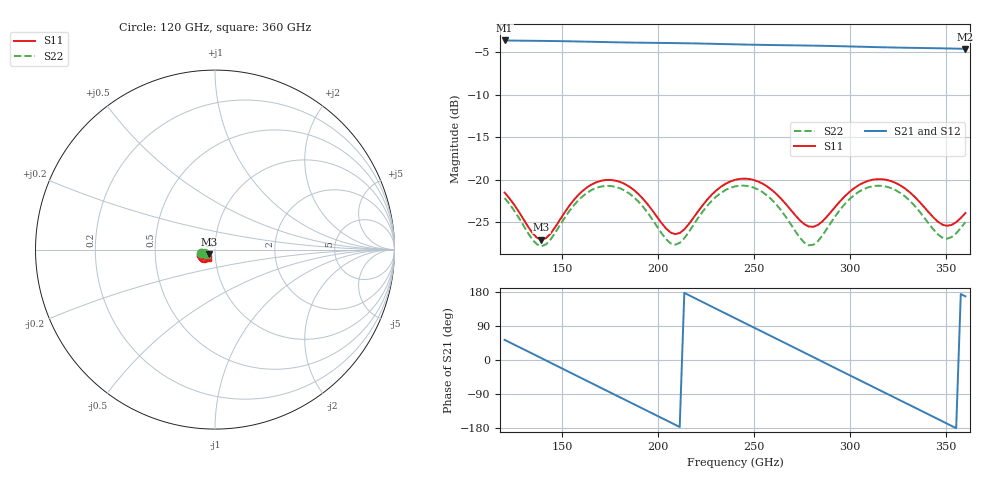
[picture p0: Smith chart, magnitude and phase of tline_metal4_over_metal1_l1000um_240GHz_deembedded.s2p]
! Created with skrf 2.0.1 (http://scikit-rf.org).
# GHz S DB R 50.0
!freq dBS11 angS11 dBS21 angS21 dBS12 angS12 dBS22 angS22
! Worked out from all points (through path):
!   101 points, 120 GHz to 360 GHz, reference 50 ohm
!   highest |S21| = -3.60 dB at 120 GHz (marker M1); lowest = -4.6 dB at 360 GHz (marker M2)
!   group delay of S21, straight-line fit = 7 ps
!   lowest |S11| = -27.1 dB at 139.2 GHz (marker M3), VSWR 1.09, Z = 46.5 - j2.51 ohm
!   |S11| at or under -10 dB: start of sweep to end of sweep
!   |S22| runs from -27.8 to -20.7 dB; largest |S21 - S12| = 7.6e-14
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120  -21.51 -160.1  -3.60 53.1  -3.60 53.1  -22.15 -166.8
139.2  -27.06 -142.6  -3.65 4.8  -3.65 4.8  -27.82 -149.4
148.8  -24.71 -121.5  -3.68 -19.5  -3.68 -19.5  -25.35 -128.9
160.8  -21.28 -126.1  -3.73 -49.8  -3.73 -49.8  -21.91 -134.9
170.4  -20.11 -138.5  -3.78 -74.0  -3.78 -74.0  -20.79 -148.3
180  -20.24 -152.1  -3.82 -98.2  -3.82 -98.2  -21.00 -162.8
189.6  -21.66 -163.0  -3.86 -122.3  -3.86 -122.3  -22.54 -174.6
201.6  -25.05 -162.2  -3.89 -152.6  -3.89 -152.6  -26.25 -173.9
208.8  -26.41 -146.3  -3.91 -170.8  -3.91 -170.8  -27.65 -156.0
220.8  -23.71 -125.1  -3.95 158.9  -3.95 158.9  -24.49 -135.2
240  -20.01 -139.8  -4.05 110.4  -4.05 110.4  -20.78 -153.4
249.6  -20.02 -152.2  -4.10 86.2  -4.10 86.2  -20.91 -167.3
259.2  -21.20 -162.3  -4.14 62.1  -4.14 62.1  -22.35 -178.9
271.2  -24.13 -163.0  -4.18 31.9  -4.18 31.9  -25.99 -179.7
280.8  -25.54 -145.1  -4.21 7.6  -4.21 7.6  -27.65 -155.5
292.8  -23.03 -129.0  -4.26 -22.7  -4.26 -22.7  -24.11 -138.2
304.8  -20.59 -135.3  -4.33 -53.0  -4.33 -53.0  -21.37 -147.7
321.6  -20.17 -154.5  -4.42 -95.3  -4.42 -95.3  -21.01 -170.2
331.2  -21.51 -163.0  -4.46 -119.4  -4.46 -119.4  -22.50 179.7
343.2  -24.40 -160.5  -4.51 -149.6  -4.51 -149.6  -25.82 -178.0
350.4  -25.42 -147.0  -4.54 -167.8  -4.54 -167.8  -26.93 -162.2
360  -23.92 -130.4  -4.58 168.0  -4.58 168.0  -24.99 -144.7
